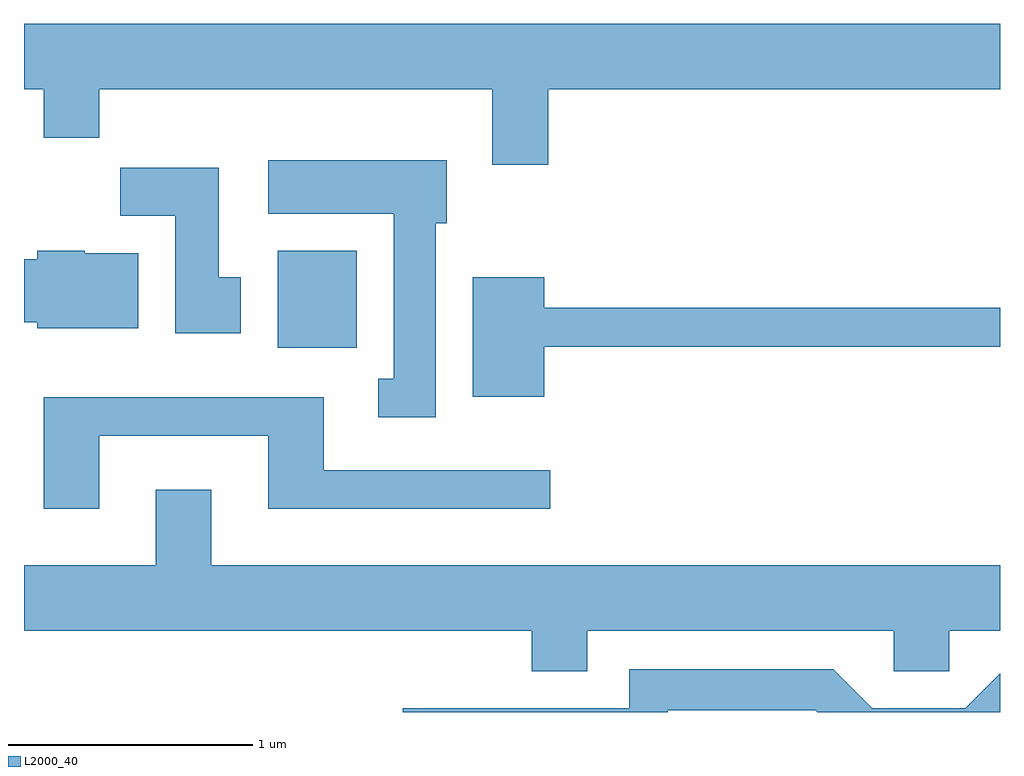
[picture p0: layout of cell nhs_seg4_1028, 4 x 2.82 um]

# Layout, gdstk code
import gdstk
lib = gdstk.Library(unit=1e-6, precision=1e-09)
def R(c, l, rs):  # rectangles x0, y0, x1, y1
    for r in rs: c.add(gdstk.rectangle(r[:2], r[2:], *l))
def P(c, l, *ps):  # polygons
    for p in ps: c.add(gdstk.Polygon(p, *l))
L2000_40 = (2000, 40)

nhs_seg4_1028 = lib.new_cell('nhs_seg4_1028')
R(nhs_seg4_1028, L2000_40, [(216.651,1271.476,216.974,1271.874)])
P(nhs_seg4_1028, L2000_40, [(217.759,1272.536),(219.611,1272.536),(219.611,1272.804),(215.611,1272.804),(215.611,1272.536),(215.691,1272.536),(215.691,1272.336),(215.919,1272.336),(215.919,1272.536),(217.531,1272.536),(217.531,1272.226),(217.759,1272.226)],
  [(217.299,1271.986),(217.344,1271.986),(217.344,1272.244),(216.611,1272.244),(216.611,1272.026),(217.126,1272.026),(217.126,1271.349),(217.063,1271.349),(217.063,1271.191),(217.299,1271.191)],
  [(216.499,1271.764),(216.409,1271.764),(216.409,1272.214),(216.006,1272.214),(216.006,1272.016),(216.231,1272.016),(216.231,1271.536),(216.499,1271.536)],
  [(216.079,1271.864),(215.86,1271.864),(215.86,1271.874),(215.666,1271.874),(215.666,1271.839),(215.611,1271.839),(215.611,1271.581),(215.666,1271.581),(215.666,1271.556),(216.079,1271.556)],
  [(217.744,1271.481),(219.611,1271.481),(219.611,1271.639),(217.744,1271.639),(217.744,1271.764),(217.451,1271.764),(217.451,1271.276),(217.744,1271.276)],
  [(215.919,1271.116),(216.611,1271.116),(216.611,1270.816),(217.768,1270.816),(217.768,1270.974),(216.839,1270.974),(216.839,1271.274),(215.691,1271.274),(215.691,1270.816),(215.919,1270.816)],
  [(217.919,1270.316),(219.176,1270.316),(219.176,1270.151),(219.404,1270.151),(219.404,1270.316),(219.611,1270.316),(219.611,1270.584),(216.379,1270.584),(216.379,1270.894),(216.151,1270.894),(216.151,1270.584),(215.611,1270.584),(215.611,1270.316),(217.691,1270.316),(217.691,1270.151),(217.919,1270.151)],
  [(218.249,1269.991),(218.854,1269.991),(218.863,1269.982),(219.611,1269.982),(219.611,1270.141),(219.469,1269.999),(219.087,1269.999),(218.927,1270.159),(218.091,1270.159),(218.091,1269.999),(217.163,1269.999),(217.163,1269.982),(218.249,1269.982)])

lib.write_gds('nhs_seg4_1028.gds')
